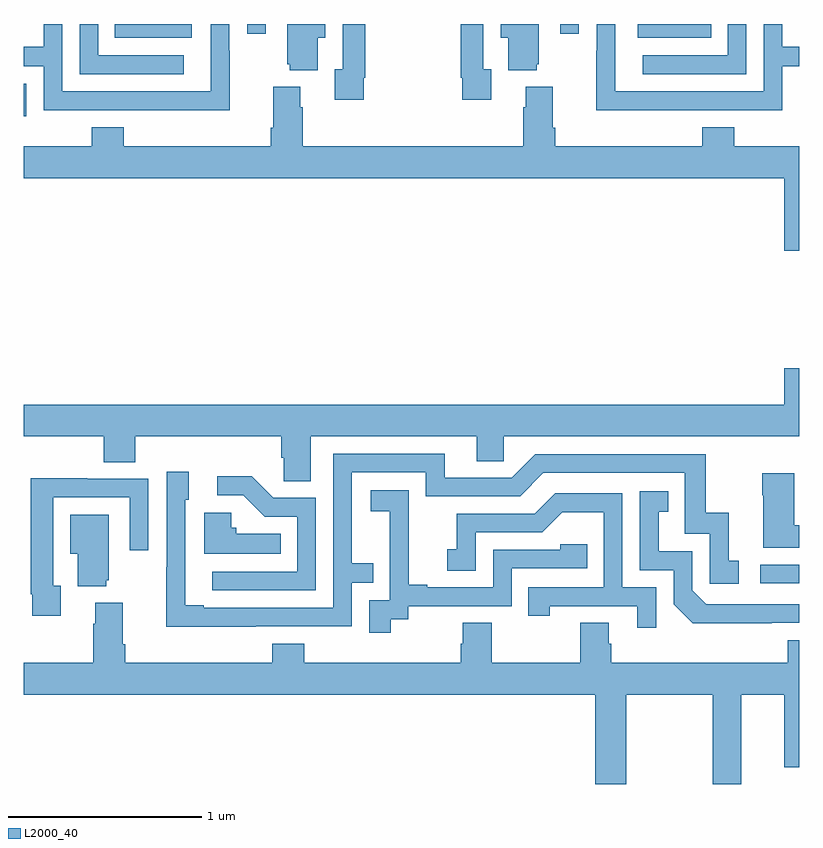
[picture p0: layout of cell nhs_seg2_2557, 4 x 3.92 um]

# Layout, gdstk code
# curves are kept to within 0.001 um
import gdstk
lib = gdstk.Library(unit=1e-6, precision=1e-09)
def R(c, l, rs):  # rectangles x0, y0, x1, y1
    for r in rs: c.add(gdstk.rectangle(r[:2], r[2:], *l))
def P(c, l, *ps):  # polygons
    for p in ps: c.add(gdstk.Polygon(p, *l))
L2000_40 = (2000, 40)

nhs_seg2_2557 = lib.new_cell('nhs_seg2_2557')
R(nhs_seg2_2557, L2000_40, [(248.799,610.914,249,611.01), (245,613.323,245.013,613.491), (245.47,613.73,245.866,613.8), (248.168,613.73,248.546,613.8), (246.153,613.749,246.249,613.8), (247.767,613.749,247.863,613.8)])
P(nhs_seg2_2557, L2000_40, [(246.517,613.73),(246.556,613.73),(246.556,613.8),(246.359,613.8),(246.359,613.593),(246.371,613.593),(246.371,613.562),(246.517,613.562)],
  [(247.646,613.593),(247.657,613.593),(247.657,613.8),(247.46,613.8),(247.46,613.73),(247.499,613.73),(247.499,613.562),(247.646,613.562)],
  [(247.411,613.566),(247.371,613.566),(247.371,613.8),(247.255,613.8),(247.255,613.522),(247.263,613.522),(247.263,613.41),(247.411,613.41)],
  [(248.727,613.8),(248.631,613.8),(248.631,613.638),(248.193,613.638),(248.193,613.542),(248.727,613.542)],
  [(248.417,613.356),(248.913,613.356),(248.913,613.581),(249,613.581),(249,613.682),(248.913,613.682),(248.913,613.8),(248.817,613.8),(248.817,613.452),(248.052,613.452),(248.052,613.8),(247.956,613.8),(247.956,613.661),(247.954,613.661),(247.954,613.355),(248.417,613.355)],
  [(246.063,613.661),(246.06,613.661),(246.06,613.8),(245.964,613.8),(245.964,613.676),(245.963,613.676),(245.963,613.452),(245.199,613.452),(245.199,613.8),(245.103,613.8),(245.103,613.682),(245,613.682),(245,613.581),(245.103,613.581),(245.103,613.356),(245.599,613.356),(245.599,613.355),(246.063,613.355)],
  [(246.754,613.522),(246.761,613.522),(246.761,613.8),(246.645,613.8),(246.645,613.566),(246.605,613.566),(246.605,613.41),(246.754,613.41)],
  [(245.824,613.638),(245.385,613.638),(245.385,613.8),(245.289,613.8),(245.289,613.542),(245.824,613.542)],
  [(249,613.168),(248.666,613.168),(248.666,613.267),(248.501,613.267),(248.501,613.168),(247.742,613.168),(247.742,613.264),(247.729,613.264),(247.729,613.477),(247.589,613.477),(247.589,613.37),(247.577,613.37),(247.577,613.168),(246.44,613.168),(246.44,613.37),(246.427,613.37),(246.427,613.477),(246.287,613.477),(246.287,613.264),(246.275,613.264),(246.275,613.168),(245.516,613.168),(245.516,613.267),(245.351,613.267),(245.351,613.168),(245,613.168),(245,613.004),(248.924,613.004),(248.924,612.63),(249,612.63)],
  [(246.481,611.672),(247.337,611.672),(247.337,611.545),(247.476,611.545),(247.476,611.672),(249,611.672),(249,612.025),(248.924,612.025),(248.924,611.836),(245,611.836),(245,611.672),(245.411,611.672),(245.411,611.539),(245.576,611.539),(245.576,611.672),(246.329,611.672),(246.329,611.563),(246.342,611.563),(246.342,611.44),(246.481,611.44)],
  [(246.197,610.692),(246.693,610.692),(246.693,610.917),(246.803,610.917),(246.803,611.018),(246.693,611.018),(246.693,611.487),(247.074,611.487),(247.074,611.364),(247.56,611.364),(247.68,611.484),(248.409,611.484),(248.409,611.169),(248.538,611.169),(248.538,610.911),(248.689,610.911),(248.689,611.031),(248.636,611.031),(248.636,611.278),(248.518,611.278),(248.518,611.58),(247.638,611.58),(247.518,611.46),(247.171,611.46),(247.171,611.583),(246.597,611.583),(246.597,610.788),(245.929,610.788),(245.929,610.801),(245.832,610.801),(245.832,611.346),(245.851,611.346),(245.851,611.491),(245.736,611.491),(245.736,610.997),(245.734,610.997),(245.734,610.691)],
  [(249,611.213),(248.974,611.213),(248.974,611.482),(248.809,611.482),(248.809,611.369),(248.816,611.369),(248.816,611.099),(249,611.099)],
  [(246.507,611.355),(246.288,611.355),(246.175,611.468),(245.997,611.468),(245.997,611.37),(246.131,611.37),(246.242,611.259),(246.411,611.259),(246.411,610.974),(245.973,610.974),(245.973,610.878),(246.507,610.878)],
  [(245.191,610.902),(245.151,610.902),(245.151,611.358),(245.547,611.358),(245.547,611.085),(245.643,611.085),(245.643,611.454),(245.327,611.454),(245.327,611.456),(245.035,611.456),(245.035,610.858),(245.043,610.858),(245.043,610.746),(245.191,610.746)],
  [(246.892,610.729),(246.984,610.729),(246.984,610.797),(247.518,610.797),(247.518,610.992),(247.907,610.992),(247.907,611.115),(247.767,611.115),(247.767,611.088),(247.422,611.088),(247.422,610.893),(247.081,610.893),(247.081,610.906),(246.986,610.906),(246.986,611.189),(246.987,611.189),(246.987,611.395),(246.789,611.395),(246.789,611.285),(246.887,611.285),(246.887,611.057),(246.888,611.057),(246.888,610.827),(246.783,610.827),(246.783,610.659),(246.892,610.659)],
  [(248.858,610.71),(249,610.71),(249,610.806),(248.52,610.806),(248.448,610.878),(248.448,611.079),(248.275,611.079),(248.275,611.283),(248.324,611.283),(248.324,611.389),(248.178,611.389),(248.178,610.983),(248.352,610.983),(248.352,610.806),(248.45,610.709)],
  [(248.262,610.893),(248.088,610.893),(248.088,611.379),(247.742,611.379),(247.637,611.274),(247.234,611.274),(247.234,611.089),(247.185,611.089),(247.185,610.98),(247.332,610.98),(247.332,611.178),(247.674,611.178),(247.778,611.282),(247.992,611.282),(247.992,610.893),(247.603,610.893),(247.603,610.746),(247.714,610.746),(247.714,610.797),(248.165,610.797),(248.165,610.686),(248.262,610.686)],
  [(246.326,611.17),(246.096,611.17),(246.096,611.202),(246.069,611.202),(246.069,611.278),(245.93,611.278),(245.93,611.066),(246.326,611.066)],
  [(245.426,610.929),(245.437,610.929),(245.437,611.269),(245.24,611.269),(245.24,611.066),(245.279,611.066),(245.279,610.898),(245.426,610.898)],
  [(248.109,610.34),(248.554,610.34),(248.554,609.879),(248.701,609.879),(248.701,610.34),(248.924,610.34),(248.924,609.966),(249,609.966),(249,610.621),(248.942,610.621),(248.942,610.504),(248.03,610.504),(248.03,610.602),(248.017,610.602),(248.017,610.712),(247.87,610.712),(247.87,610.504),(247.413,610.504),(247.413,610.712),(247.265,610.712),(247.265,610.602),(247.253,610.602),(247.253,610.504),(246.446,610.504),(246.446,610.603),(246.281,610.603),(246.281,610.504),(245.522,610.504),(245.522,610.6),(245.509,610.6),(245.509,610.813),(245.369,610.813),(245.369,610.706),(245.357,610.706),(245.357,610.504),(245,610.504),(245,610.34),(247.949,610.34),(247.949,609.879),(248.109,609.879)])

lib.write_gds('nhs_seg2_2557.gds')
